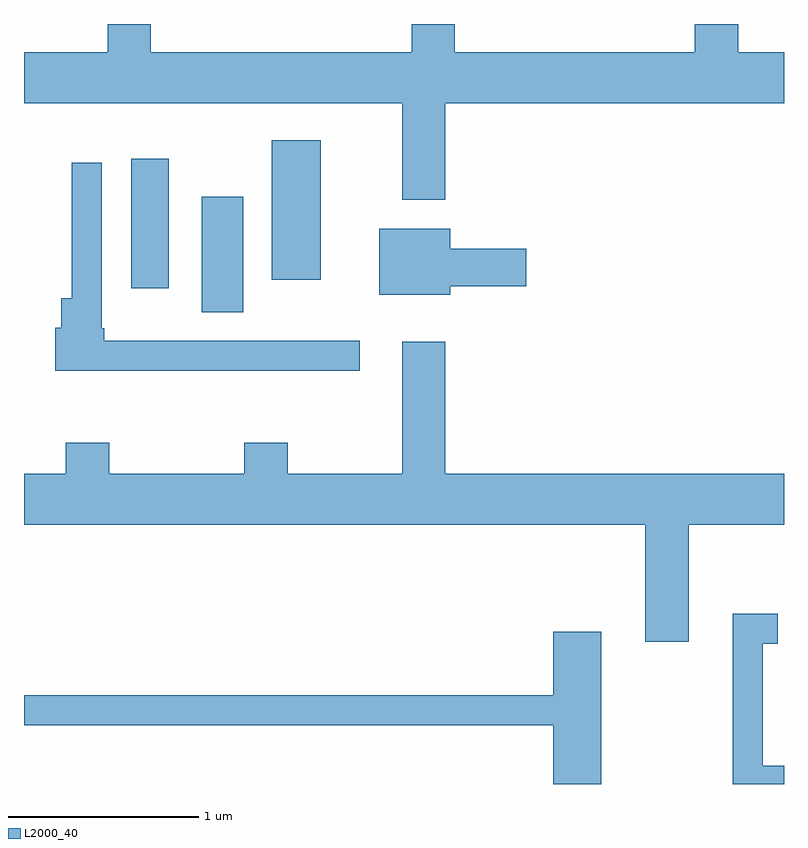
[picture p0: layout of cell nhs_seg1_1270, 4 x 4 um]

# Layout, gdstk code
import gdstk
lib = gdstk.Library(unit=1e-6, precision=1e-09)
def R(c, l, rs):  # rectangles x0, y0, x1, y1
    for r in rs: c.add(gdstk.rectangle(r[:2], r[2:], *l))
def P(c, l, *ps):  # polygons
    for p in ps: c.add(gdstk.Polygon(p, *l))
L2000_40 = (2000, 40)

nhs_seg1_1270 = lib.new_cell('nhs_seg1_1270')
R(nhs_seg1_1270, L2000_40, [(224.546,956.196,224.764,956.804), (224.176,956.321,224.374,957.004), (224.916,956.366,225.174,957.099)])
P(nhs_seg1_1270, L2000_40, [(225.829,957.296),(227.611,957.296),(227.611,957.564),(227.369,957.564),(227.369,957.712),(227.141,957.712),(227.141,957.564),(225.879,957.564),(225.879,957.712),(225.651,957.712),(225.651,957.564),(224.279,957.564),(224.279,957.712),(224.051,957.712),(224.051,957.564),(223.611,957.564),(223.611,957.296),(225.601,957.296),(225.601,956.786),(225.829,956.786)],
  [(225.378,956.044),(224.034,956.044),(224.034,956.11),(224.019,956.11),(224.019,956.983),(223.861,956.983),(223.861,956.269),(223.806,956.269),(223.806,956.114),(223.776,956.114),(223.776,955.886),(225.378,955.886)],
  [(225.854,956.331),(226.254,956.331),(226.254,956.529),(225.854,956.529),(225.854,956.634),(225.481,956.634),(225.481,956.286),(225.854,956.286)],
  [(227.109,955.076),(227.611,955.076),(227.611,955.344),(225.829,955.344),(225.829,956.039),(225.601,956.039),(225.601,955.344),(224.999,955.344),(224.999,955.509),(224.771,955.509),(224.771,955.344),(224.059,955.344),(224.059,955.509),(223.831,955.509),(223.831,955.344),(223.611,955.344),(223.611,955.076),(226.881,955.076),(226.881,954.461),(227.109,954.461)],
  [(227.611,953.809),(227.499,953.809),(227.499,954.451),(227.578,954.451),(227.578,954.609),(227.341,954.609),(227.341,953.712),(227.611,953.712)],
  [(226.649,954.514),(226.396,954.514),(226.396,954.179),(223.611,954.179),(223.611,954.021),(226.396,954.021),(226.396,953.712),(226.649,953.712)])

lib.write_gds('nhs_seg1_1270.gds')
